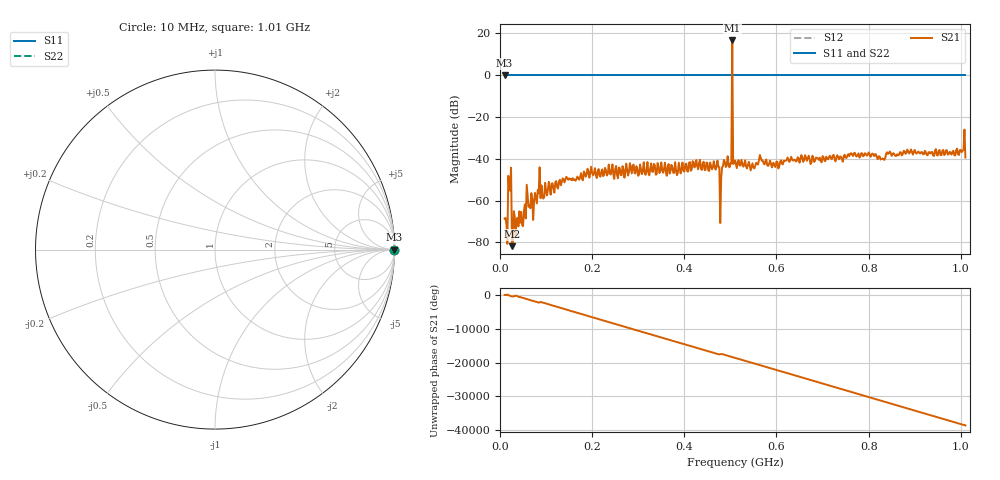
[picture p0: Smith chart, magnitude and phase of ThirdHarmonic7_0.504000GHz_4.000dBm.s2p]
! 8/17/2025 2:30:43 PM
! C:\ANRITSUVNA\TEMP\TEMP.S2P
! CHANNEL.1
! TR.MEASUREMENT
! RAW.DATA
! RF.CORRECTION.OFF
! AVERAGING.OFF
! IF.BANDWIDTH: 5KHZ
! SWEEPTYPE:  FREQ.SWEEP(Linear)
! Reference Plane Port Info
! PORT:  PORT1  PORT2
! DISTANCE:  0  m  0  m
! TIME:  0  s  0  s
! PHASE.OFFSET:  0  deg.  0  deg.
! LOSS:  0  dB  0  dB
! REF.LOSS:  0  dB  0  dB
! REF.FREQ:  0  Hz  0  Hz
! Power Info
! POWER:  -20  dBm  -20  dBm
! EFF.POWER:  -20  dBm  -20  dBm
! SOURCE.ATTEN:  0  dB  0  dB
! TEST.ATTEN:  0  dB  0  dB
# GHZ S RI R 50.0
! FREQ.GHZ  S11RE  S11IM  S21RE  S21IM  S12RE  S12IM  S22RE  S22IM
!; PortSelection: Port_12
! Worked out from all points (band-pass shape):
!   501 points, 10 MHz to 1.01 GHz, reference 50 ohm
!   highest |S21| = 16.67 dB at 504 MHz (marker M1); lowest = -81.8 dB at 26 MHz (marker M2)
!   |S21| within 3 dB of the highest: 503.8982 MHz to 504.1015 MHz (203.3 kHz wide, 0.0403 % of centre)
!   lowest |S11| = 0.0 dB at 10 MHz (marker M3)
!   |S11| at or under -10 dB: nowhere
!   |S22| runs from 0.0 to 0.0 dB; largest |S21 - S12| = 6.2
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0.01  1 0  -0.000307 0.000213  1 0  1 0
0.012  1 0  -0.000301 0.000244  1 0  1 0
0.02  1 0  0.00182 0.000854  1 0  1 0
0.026  1 0  -6.9e-06 8.12e-05  1 0  1 0
0.03  1 0  -0.000133 0.000544  1 0  1 0
0.056  1 0  -0.000269 0.000263  1 0  1 0
0.076  1 0  0.00153 -0.000237  1 0  1 0
0.086  1 0  -0.000261 0.00627  1 0  1 0
0.092  1 0  0.000972 0.000998  1 0  1 0
0.178  1 0  -0.00314 -0.00107  1 0  1 0
0.344  1 0  0.00626 -0.00227  1 0  1 0
0.468  1 0  0.00192 0.00518  1 0  1 0
0.478  1 0  -0.000262 -0.000127  1 0  1 0
0.486  1 0  0.0026 0.0091  1 0  1 0
0.498  1 0  0.00353 -0.00518  1 0  1 0
0.5  1 0  -0.004 -0.00658  1 0  1 0
0.504  1 0  4.428 5.177  1 0  1 0
0.508  1 0  0.00105 -0.00789  1 0  1 0
0.51  1 0  -0.00912 -0.000902  1 0  1 0
0.678  1 0  0.00442 -0.011  1 0  1 0
0.844  1 0  -0.00368 0.0133  1 0  1 0
1.01  1 0  -0.000873 -0.0107  1 0  1 0
